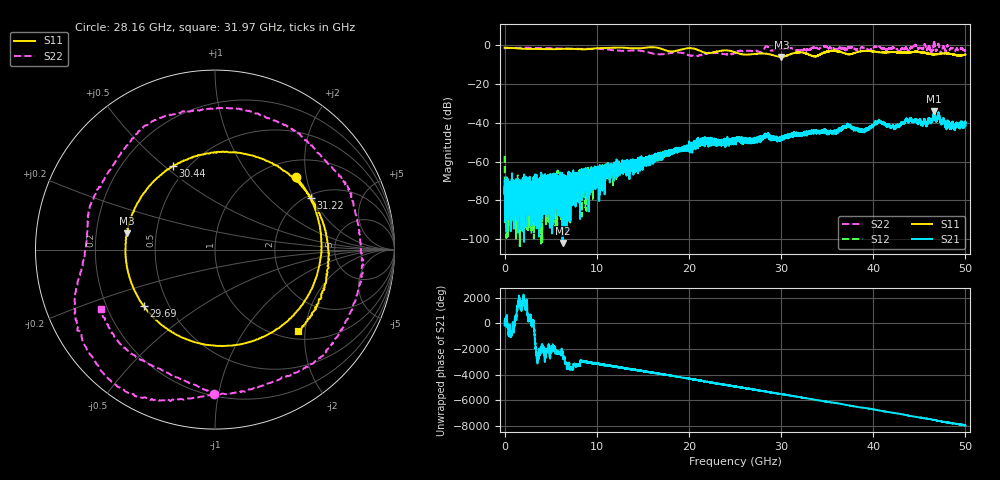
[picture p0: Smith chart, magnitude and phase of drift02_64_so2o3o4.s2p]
!Created with skrf (http://scikit-rf.org).
# Hz S RI R 50.0
!freq ReS11 ImS11 ReS21 ImS21 ReS12 ImS12 ReS22 ImS22
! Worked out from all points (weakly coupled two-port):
!   10001 points, 300 kHz to 50 GHz, reference 50 ohm
!   highest |S21| = -34.08 dB at 46.6 GHz (marker M1); lowest = -102.0 dB at 6.285 GHz (marker M2)
!   lowest |S11| = -6.1 dB at 30.05 GHz (marker M3), VSWR 2.98, Z = 16.9 + j4.09 ohm
!   |S11| at or under -10 dB: nowhere
!   |S22| runs from -5.7 to 2.4 dB; largest |S21 - S12| = 0.0034
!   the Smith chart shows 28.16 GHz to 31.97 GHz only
!   S11 on the Smith chart (normalised r, x): 28.16 GHz: 1.35, +1.74; 29.69 GHz: 0.36, -0.31; 30.44 GHz: 0.42, +0.53; 31.22 GHz: 2.11, +1.92; 31.97 GHz: 1.18, -1.84
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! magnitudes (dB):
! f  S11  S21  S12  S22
! 300 kHz  -1.3  -72.6  -57.1  -2.1
! 265.3 MHz  -1.4  -73.5  -75.1  -1.4
! 6.285 GHz  -1.9  -102.0  -82.6  -1.8
! 8.335 GHz  -2.2  -64.4  -72.7  -1.9
! 16.67 GHz  -1.4  -58.2  -57.3  -4.7
! 21.55 GHz  -3.6  -49.3  -49.3  -4.6
! 25 GHz  -3.7  -49.4  -49.4  -3.9
! 28.16 GHz  -4.3  -46.2  -47.5  -1.9
! 29.69 GHz  -5.9  -49.1  -48.6  -2.1
! 30.05 GHz  -6.1  -47.8  -48.1  -2.0
! 30.44 GHz  -5.7  -47.5  -47.6  -1.8
! 31.22 GHz  -4.3  -46.0  -46.2  -1.7
! 31.97 GHz  -3.8  -47.0  -45.8  -2.9
! 33.34 GHz  -5.5  -45.1  -44.4  -1.6
! 35.74 GHz  -3.0  -44.6  -45.1  -1.7
! 37.27 GHz  -4.6  -40.9  -41.0  -1.2
! 38.89 GHz  -3.1  -44.5  -44.6  -1.5
! 40.58 GHz  -3.6  -39.1  -39.3  -1.0
! 41.67 GHz  -3.7  -41.3  -41.0  -1.9
! 46.6 GHz  -4.6  -34.1  -34.1  1.9
! 48.11 GHz  -4.3  -40.3  -39.8  -0.6
! 50 GHz  -4.9  -41.7  -40.7  -2.7
